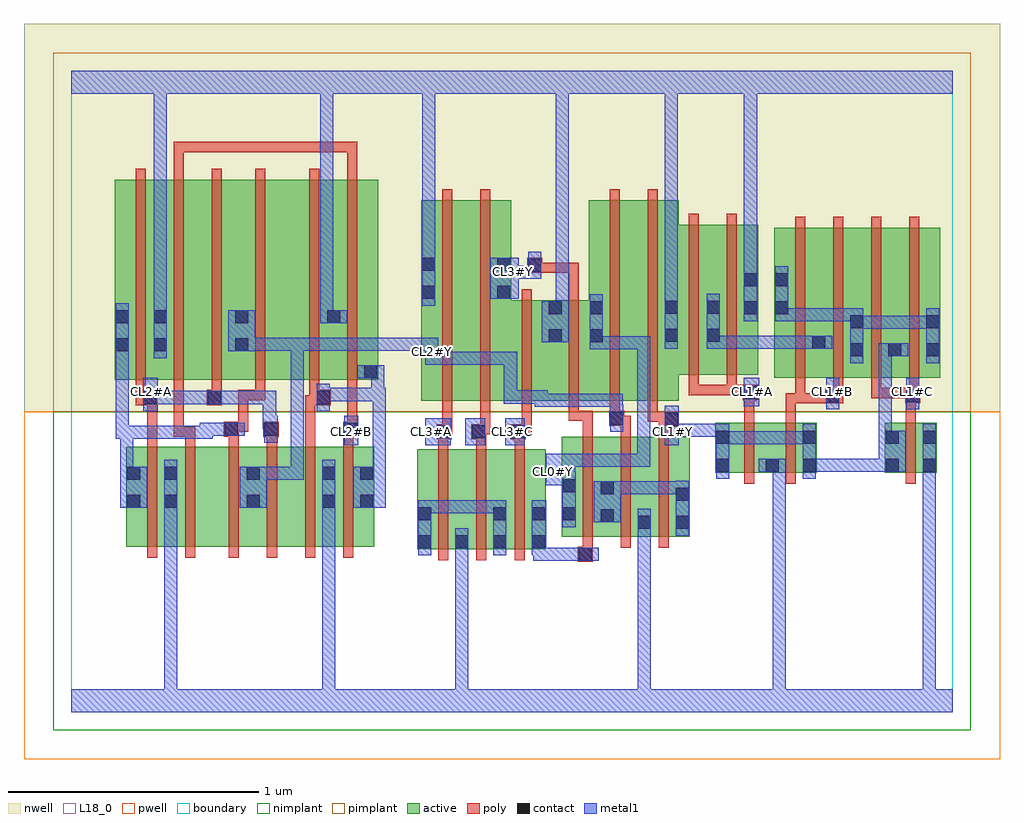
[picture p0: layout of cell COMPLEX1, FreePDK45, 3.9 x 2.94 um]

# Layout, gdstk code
import gdstk
lib = gdstk.Library(unit=1e-6, precision=1e-09)
def R(c, l, rs):  # rectangles x0, y0, x1, y1
    for r in rs: c.add(gdstk.rectangle(r[:2], r[2:], *l))
def A(c, l, x, y, w, h, nx, ny, dx, dy):  # array of equal rectangles
    R(c, l, [(x+i*dx, y+j*dy, x+i*dx+w, y+j*dy+h) for i in range(nx) for j in range(ny)])
active = (1, 0)
pwell = (2, 0)
nwell = (3, 0)
nimplant = (4, 0)
pimplant = (5, 0)
poly = (9, 0)
contact = (10, 0)
metal1 = (11, 0)
L18_0 = (18, 0)
boundary = (235, 0)

complex1 = lib.new_cell('COMPLEX1')
A(complex1, active, 2.954, 1.334, 0.212, 0.6, 3, 1, 0.152, 0)
R(complex1, active, [(1.382,0.65,1.442,1.05), (1.382,0.65,1.59,1.05), (1.53,0.65,1.742,1.05), (1.53,0.65,1.59,0.88), (1.682,0.65,1.742,1.05), (1.682,0.65,1.894,1.05), (1.834,0.65,1.894,1.05), (0.22,0.66,0.28,1.06), (0.22,0.66,0.428,1.06), (0.368,0.66,0.552,1.06), (0.368,0.66,0.428,1.05), (0.552,0.66,0.758,1.06), (0.698,0.66,0.758,0.984), (0.698,0.66,0.878,1.06), (0.878,0.66,1.058,1.06), (0.998,0.66,1.21,1.06), (0.998,0.66,1.058,0.984), (1.15,0.66,1.21,1.06), (1.958,0.7,2.018,1.1), (1.958,0.7,2.17,1.1), (2.11,0.7,2.17,1.1), (2.11,0.7,2.318,1.1), (2.258,0.7,2.318,1.1), (2.258,0.7,2.47,1.1), (2.41,0.7,2.47,1.1), (2.572,0.956,2.632,1.156), (2.572,0.956,2.828,1.156), (2.768,0.956,2.828,1.156), (2.768,0.956,2.976,1.156), (2.916,0.956,2.976,1.156), (3.248,0.956,3.308,1.156), (3.248,0.956,3.456,1.156), (3.396,0.956,3.456,1.156), (1.398,1.244,1.578,2.044), (1.578,1.244,1.758,2.044), (1.698,1.244,1.962,1.644), (1.902,1.244,2.126,1.644), (2.066,1.244,2.246,2.044), (2.246,1.244,2.426,2.044), (2.066,1.25,2.126,2.038), (0.174,1.326,0.386,2.126), (0.174,1.326,0.234,2.098), (0.326,1.326,0.506,2.126), (0.326,1.326,0.386,2.044), (0.506,1.326,0.712,2.126), (0.652,1.326,0.832,2.126), (0.652,1.326,0.712,2.056), (0.832,1.326,1.078,2.126), (1.018,1.326,1.078,2.044), (1.018,1.326,1.226,2.126), (1.166,1.326,1.226,2.044), (2.806,1.334,2.866,1.934), (2.806,1.334,3.014,1.934), (3.106,1.334,3.166,1.934), (3.41,1.334,3.47,1.934), (2.366,1.346,2.594,1.946), (2.534,1.346,2.742,1.946), (2.682,1.346,2.742,1.946), (3.258,1.416,3.318,1.844), (2.954,1.446,3.014,1.844), (2.366,1.468,2.426,1.946), (1.902,1.472,1.962,1.644), (2.534,1.474,2.594,1.844), (1.698,1.492,1.758,2.038), (1.398,1.646,1.458,2.044)])
R(complex1, pwell, [(-0.188,-0.188,3.708,1.2)])
R(complex1, nwell, [(-0.188,1.2,3.708,2.748)])
R(complex1, nimplant, [(-0.072,-0.072,3.592,1.2)])
R(complex1, pimplant, [(-0.072,1.2,3.592,2.632)])
A(complex1, poly, 1.466, 0.606, 0.04, 0.488, 3, 1, 0.152, 0)
A(complex1, poly, 0.63, 0.616, 0.04, 0.488, 4, 1, 0.152, 0)
A(complex1, poly, 2.042, 0.656, 0.04, 0.488, 3, 1, 0.152, 0)
A(complex1, poly, 1.466, 1.054, 0.04, 0.076, 3, 1, 0.152, 0)
A(complex1, poly, 3.042, 1.254, 0.04, 0.076, 3, 1, 0.152, 0)
A(complex1, poly, 0.258, 1.282, 0.04, 0.888, 3, 1, 0.152, 0)
A(complex1, poly, 2.89, 1.29, 0.04, 0.688, 4, 1, 0.152, 0)
R(complex1, poly, [(2.022,0.6,2.082,0.66), (0.304,0.616,0.344,1.104), (0.456,0.616,0.496,1.104), (2.042,0.62,2.082,0.696), (2.688,0.912,2.728,1.2), (2.852,0.912,2.892,1.2), (3.332,0.912,3.372,1.2), (0.304,1.064,0.344,1.266), (0.456,1.064,0.496,1.14), (0.63,1.064,0.67,1.14), (0.782,1.064,0.822,1.14), (0.934,1.064,0.974,1.266), (1.086,1.064,1.126,1.14), (1.46,1.09,1.52,1.15), (1.598,1.09,1.658,1.15), (1.754,1.09,1.814,1.15), (0.41,1.1,0.45,1.14), (0.41,1.1,0.45,1.14), (0.41,1.1,0.45,1.322), (0.41,1.1,0.496,1.14), (0.61,1.1,0.67,1.16), (0.768,1.1,0.828,1.16), (1.086,1.1,1.146,1.16), (2.042,1.104,2.082,1.204), (2.194,1.104,2.234,1.184), (2.346,1.104,2.386,1.18), (1.48,1.11,1.52,1.15), (1.48,1.11,1.522,1.15), (1.482,1.11,1.522,1.24), (1.618,1.11,1.658,1.15), (1.618,1.11,1.674,1.15), (1.634,1.11,1.674,1.24), (1.774,1.11,1.814,1.15), (1.774,1.11,1.838,1.15), (1.798,1.11,1.838,1.24), (0.63,1.12,0.708,1.16), (0.668,1.12,0.708,1.16), (0.668,1.12,0.708,1.286), (1.102,1.12,1.142,1.16), (1.102,1.12,1.142,1.16), (1.102,1.12,1.142,1.322), (2.346,1.14,2.426,1.2), (2.148,1.144,2.208,1.204), (2.168,1.144,2.208,1.184), (2.168,1.144,2.234,1.184), (2.302,1.16,2.342,1.24), (2.302,1.16,2.386,1.2), (2.346,1.16,2.386,1.2), (2.688,1.16,2.728,1.286), (2.852,1.16,2.892,1.274), (3.332,1.16,3.372,1.274), (1.986,1.164,2.026,1.24), (1.986,1.164,2.026,1.204), (1.986,1.164,2.026,1.204), (1.986,1.164,2.082,1.204), (2.15,1.164,2.19,1.24), (1.482,1.2,1.522,2.088), (1.634,1.2,1.674,2.088), (1.798,1.2,1.838,1.688), (1.986,1.2,2.026,1.688), (2.15,1.2,2.19,2.088), (2.302,1.2,2.342,2.088), (0.258,1.226,0.344,1.286), (0.304,1.226,0.344,1.266), (0.304,1.226,0.344,1.266), (0.542,1.226,0.602,1.286), (0.934,1.226,0.99,1.266), (0.95,1.226,0.99,1.266), (0.95,1.226,1.036,1.286), (2.852,1.234,2.93,1.274), (2.89,1.234,2.93,1.274), (2.89,1.234,2.93,1.274), (2.89,1.234,3.05,1.274), (2.89,1.234,2.93,1.33), (3.01,1.234,3.05,1.274), (3.01,1.234,3.05,1.274), (3.01,1.234,3.082,1.294), (3.33,1.234,3.39,1.294), (3.332,1.234,3.372,1.274), (3.332,1.234,3.372,1.274), (0.258,1.246,0.298,1.322), (0.562,1.246,0.602,1.322), (0.668,1.246,0.708,1.286), (0.668,1.246,0.776,1.286), (0.736,1.246,0.776,1.322), (0.736,1.246,0.776,1.286), (0.95,1.246,0.99,1.322), (2.682,1.246,2.742,1.306), (3.194,1.254,3.234,1.294), (3.194,1.254,3.234,1.294), (3.194,1.254,3.234,1.294), (3.194,1.254,3.37,1.294), (2.466,1.266,2.506,1.342), (2.466,1.266,2.506,1.306), (2.466,1.266,2.506,1.306), (2.466,1.266,2.506,1.306), (2.466,1.266,2.658,1.306), (2.618,1.266,2.658,1.342), (2.618,1.266,2.722,1.306), (2.682,1.266,2.722,1.306), (0.736,1.282,0.776,2.17), (0.95,1.282,0.99,2.17), (1.102,1.282,1.142,2.17), (2.466,1.302,2.506,1.99), (2.618,1.302,2.658,1.99), (1.986,1.648,2.026,1.794), (1.82,1.754,1.88,1.814), (1.84,1.754,1.88,1.794), (1.84,1.754,1.88,1.794), (1.84,1.754,2.026,1.794), (1.986,1.754,2.026,1.794), (1.986,1.754,2.026,1.794), (1.986,1.754,2.026,1.794), (0.41,2.13,0.45,2.276), (1.102,2.13,1.142,2.276), (0.41,2.236,0.45,2.276), (0.41,2.236,0.556,2.276), (0.516,2.236,0.556,2.276), (0.516,2.236,0.556,2.276), (0.516,2.236,0.556,2.276), (0.516,2.236,0.662,2.276), (0.622,2.236,0.662,2.276), (0.622,2.236,0.812,2.276), (0.772,2.236,0.812,2.276), (0.772,2.236,0.918,2.276), (0.878,2.236,0.918,2.276), (0.878,2.236,0.918,2.276), (0.878,2.236,0.918,2.276), (0.878,2.236,1.142,2.276), (1.102,2.236,1.142,2.276), (1.102,2.236,1.142,2.276), (1.102,2.236,1.142,2.276)])
A(complex1, contact, 1.534, 0.654, 0.052, 0.052, 3, 1, 0.152, 0)
A(complex1, contact, 3.11, 1.42, 0.052, 0.052, 3, 1, 0.152, 0)
R(complex1, contact, [(2.026,0.604,2.078,0.656), (1.386,0.654,1.438,0.706), (2.262,0.732,2.314,0.784), (2.414,0.732,2.466,0.784), (2.114,0.758,2.166,0.81), (1.386,0.766,1.438,0.818), (1.686,0.766,1.738,0.818), (1.838,0.766,1.89,0.818), (1.962,0.766,2.014,0.818), (0.224,0.816,0.276,0.868), (0.372,0.816,0.424,0.868), (0.702,0.816,0.754,0.868), (1.002,0.816,1.054,0.868), (1.154,0.816,1.206,0.868), (2.414,0.844,2.466,0.896), (2.114,0.87,2.166,0.922), (1.962,0.878,2.014,0.93), (0.224,0.928,0.276,0.98), (0.372,0.928,0.424,0.98), (0.702,0.928,0.754,0.98), (1.002,0.928,1.054,0.98), (1.154,0.928,1.206,0.98), (2.576,0.96,2.628,1.012), (2.772,0.96,2.824,1.012), (2.92,0.96,2.972,1.012), (3.252,0.96,3.304,1.012), (3.4,0.96,3.452,1.012), (2.576,1.072,2.628,1.124), (2.92,1.072,2.972,1.124), (3.252,1.072,3.304,1.124), (3.4,1.072,3.452,1.124), (1.464,1.094,1.516,1.146), (1.602,1.094,1.654,1.146), (1.758,1.094,1.81,1.146), (0.614,1.104,0.666,1.156), (0.772,1.104,0.824,1.156), (1.09,1.104,1.142,1.156), (2.37,1.144,2.422,1.196), (2.152,1.148,2.204,1.2), (0.288,1.23,0.34,1.282), (0.546,1.23,0.598,1.282), (0.98,1.23,1.032,1.282), (3.014,1.238,3.066,1.29), (3.334,1.238,3.386,1.29), (2.686,1.25,2.738,1.302), (1.17,1.332,1.222,1.384), (0.178,1.44,0.23,1.492), (0.33,1.44,0.382,1.492), (0.656,1.44,0.708,1.492), (2.958,1.45,3.01,1.502), (1.906,1.476,1.958,1.528), (2.07,1.476,2.122,1.528), (2.37,1.478,2.422,1.53), (2.538,1.478,2.59,1.53), (3.11,1.532,3.162,1.584), (3.414,1.532,3.466,1.584), (0.178,1.552,0.23,1.604), (0.33,1.552,0.382,1.604), (0.656,1.552,0.708,1.604), (1.022,1.552,1.074,1.604), (1.906,1.588,1.958,1.64), (2.07,1.588,2.122,1.64), (2.686,1.588,2.738,1.64), (2.81,1.588,2.862,1.64), (2.37,1.59,2.422,1.642), (2.538,1.59,2.59,1.642), (1.402,1.65,1.454,1.702), (1.702,1.65,1.754,1.702), (2.686,1.7,2.738,1.752), (2.81,1.7,2.862,1.752), (1.824,1.758,1.876,1.81), (1.402,1.762,1.454,1.814), (1.702,1.762,1.754,1.814)])
R(complex1, metal1, [(0,0,3.52,0.092), (0.372,0.04,0.424,0.092), (0.372,0.04,0.424,0.092), (0.372,0.04,0.424,0.092), (0.372,0.04,0.424,0.092), (0.372,0.04,0.424,0.092), (0.372,0.04,0.424,0.092), (0.372,0.04,0.424,0.84), (1.002,0.04,1.054,0.092), (1.002,0.04,1.054,0.092), (1.002,0.04,1.054,0.092), (1.002,0.04,1.054,0.092), (1.002,0.04,1.054,0.092), (1.002,0.04,1.054,0.092), (1.002,0.04,1.054,0.84), (1.534,0.04,1.586,0.092), (1.534,0.04,1.586,0.092), (1.534,0.04,1.586,0.092), (1.534,0.04,1.586,0.092), (1.534,0.04,1.586,0.092), (1.534,0.04,1.586,0.092), (1.534,0.04,1.586,0.092), (1.534,0.04,1.586,0.092), (1.534,0.04,1.586,0.092), (1.534,0.04,1.586,0.092), (1.534,0.04,1.586,0.092), (1.534,0.04,1.586,0.092), (1.534,0.04,1.586,0.678), (2.262,0.04,2.314,0.092), (2.262,0.04,2.314,0.092), (2.262,0.04,2.314,0.092), (2.262,0.04,2.314,0.092), (2.262,0.04,2.314,0.092), (2.262,0.04,2.314,0.092), (2.262,0.04,2.314,0.092), (2.262,0.04,2.314,0.092), (2.262,0.04,2.314,0.092), (2.262,0.04,2.314,0.092), (2.262,0.04,2.314,0.092), (2.262,0.04,2.314,0.092), (2.262,0.04,2.314,0.756), (2.8,0.04,2.852,0.092), (2.8,0.04,2.852,0.092), (2.8,0.04,2.852,0.092), (2.8,0.04,2.852,0.092), (2.8,0.04,2.852,0.092), (2.8,0.04,2.852,0.092), (2.8,0.04,2.852,0.092), (2.8,0.04,2.852,0.092), (2.8,0.04,2.852,0.092), (2.8,0.04,2.852,0.092), (2.8,0.04,2.852,0.092), (2.8,0.04,2.852,0.092), (2.8,0.04,2.852,0.092), (2.8,0.04,2.852,0.092), (2.8,0.04,2.852,1.012), (3.4,0.04,3.452,0.984), (3.4,0.04,3.452,0.092), (3.4,0.04,3.452,0.092), (3.4,0.04,3.452,0.092), (3.4,0.04,3.452,0.092), (3.4,0.04,3.452,0.092), (3.4,0.04,3.452,0.092), (3.4,0.04,3.452,0.092), (3.4,0.04,3.452,0.092), (3.4,0.04,3.452,0.092), (3.4,0.04,3.452,0.092), (3.4,0.04,3.452,0.092), (3.4,0.04,3.452,0.092), (3.4,0.04,3.452,0.092), (3.4,0.04,3.452,0.092), (3.4,0.04,3.452,0.092), (3.4,0.04,3.452,0.092), (1.844,0.604,1.896,0.656), (1.844,0.604,1.896,0.656), (1.844,0.604,1.896,0.656), (1.844,0.604,2.05,0.656), (1.844,0.604,1.896,0.678), (1.998,0.604,2.106,0.656), (1.386,0.626,1.438,0.846), (1.534,0.626,1.586,0.734), (1.686,0.626,1.738,0.846), (1.838,0.626,1.896,0.846), (2.262,0.704,2.314,0.812), (2.414,0.704,2.466,0.924), (1.96,0.738,2.014,0.958), (2.086,0.758,2.194,0.922), (0.372,0.788,0.424,1.008), (0.372,0.788,0.424,0.84), (0.372,0.788,0.424,0.84), (0.372,0.788,0.424,0.84), (0.372,0.788,0.424,0.84), (0.372,0.788,0.424,0.84), (0.372,0.788,0.424,0.84), (1.002,0.788,1.054,1.008), (1.002,0.788,1.054,0.84), (1.002,0.788,1.054,0.84), (1.002,0.788,1.054,0.84), (1.002,0.788,1.054,0.84), (1.002,0.788,1.054,0.84), (1.002,0.788,1.054,0.84), (1.386,0.794,1.438,0.846), (1.386,0.794,1.438,0.846), (1.386,0.794,1.576,0.846), (1.524,0.794,1.576,0.846), (1.524,0.794,1.576,0.846), (1.524,0.794,1.576,0.846), (1.524,0.794,1.738,0.846), (0.196,0.816,0.304,0.98), (0.674,0.816,0.782,0.98), (1.126,0.816,1.256,0.98), (2.142,0.87,2.312,0.922), (2.26,0.87,2.312,0.922), (2.26,0.87,2.312,0.922), (2.26,0.87,2.312,0.922), (2.26,0.87,2.466,0.922), (2.414,0.87,2.466,0.922), (2.414,0.87,2.466,0.922), (1.894,0.906,2.012,1.032), (1.96,0.906,2.012,0.958), (0.196,0.928,0.248,1.144), (0.73,0.928,0.824,0.98), (0.772,0.928,0.824,0.98), (0.772,0.928,0.928,0.98), (0.876,0.928,0.928,0.98), (0.876,0.928,0.928,0.98), (0.876,0.928,0.928,0.98), (0.876,0.928,0.928,0.98), (0.876,0.928,0.928,0.98), (0.876,0.928,0.928,1.494), (1.204,0.928,1.256,1.294), (2.576,0.932,2.628,1.152), (2.92,0.932,2.972,1.152), (3.4,0.932,3.452,1.152), (2.744,0.96,2.852,1.012), (2.8,0.96,2.852,1.012), (2.8,0.96,2.852,1.012), (2.92,0.96,3.162,1.012), (3.11,0.96,3.162,1.012), (3.11,0.96,3.162,1.012), (3.11,0.96,3.162,1.012), (3.11,0.96,3.276,1.012), (3.224,0.96,3.276,1.012), (3.224,0.96,3.276,1.012), (3.224,0.96,3.332,1.124), (1.96,0.98,2.012,1.032), (1.96,0.98,2.012,1.032), (1.96,0.98,2.13,1.032), (2.078,0.98,2.13,1.032), (2.078,0.98,2.312,1.032), (2.26,0.98,2.312,1.032), (2.26,0.98,2.312,1.032), (2.26,0.98,2.312,1.032), (2.26,0.98,2.312,1.5), (1.09,1.066,1.146,1.184), (1.414,1.066,1.516,1.174), (1.574,1.066,1.654,1.174), (1.734,1.066,1.81,1.174), (2.37,1.066,2.426,1.224), (2.576,1.07,2.738,1.122), (2.686,1.07,2.738,1.122), (2.686,1.07,2.738,1.122), (2.686,1.07,2.738,1.122), (2.686,1.07,2.848,1.122), (2.796,1.07,2.848,1.122), (2.796,1.07,2.956,1.122), (2.904,1.07,2.956,1.122), (2.904,1.07,2.972,1.122), (3.224,1.072,3.276,1.124), (3.224,1.072,3.276,1.124), (3.224,1.072,3.276,1.124), (3.224,1.072,3.276,1.124), (3.224,1.072,3.276,1.472), (0.772,1.076,0.824,1.184), (0.178,1.092,0.23,1.144), (0.178,1.092,0.23,1.144), (0.178,1.092,0.23,1.464), (0.178,1.092,0.248,1.144), (0.196,1.092,0.248,1.144), (0.196,1.092,0.248,1.144), (0.196,1.092,0.456,1.144), (0.404,1.092,0.456,1.144), (0.404,1.092,0.456,1.144), (0.404,1.092,0.456,1.144), (0.404,1.092,0.566,1.144), (0.514,1.092,0.566,1.156), (2.374,1.1,2.426,1.152), (2.374,1.1,2.426,1.152), (2.374,1.1,2.628,1.152), (2.576,1.1,2.628,1.152), (2.576,1.1,2.628,1.152), (2.576,1.1,2.628,1.152), (2.576,1.1,2.628,1.152), (0.514,1.104,0.638,1.156), (0.586,1.104,0.694,1.156), (2.152,1.12,2.204,1.228), (0.766,1.132,0.818,1.184), (0.766,1.132,0.824,1.184), (0.766,1.132,0.818,1.282), (2.15,1.176,2.204,1.228), (2.15,1.176,2.202,1.272), (0.288,1.202,0.346,1.334), (0.98,1.202,1.032,1.31), (3.014,1.21,3.066,1.334), (3.334,1.21,3.386,1.334), (1.85,1.22,1.902,1.272), (1.85,1.22,1.902,1.272), (1.85,1.22,2.012,1.272), (1.85,1.22,1.902,1.284), (1.96,1.22,2.012,1.272), (1.96,1.22,2.202,1.272), (2.686,1.222,2.746,1.334), (0.294,1.23,0.358,1.282), (0.306,1.23,0.358,1.282), (0.306,1.23,0.456,1.282), (0.404,1.23,0.456,1.282), (0.404,1.23,0.57,1.282), (0.518,1.23,0.57,1.282), (0.518,1.23,0.57,1.282), (0.518,1.23,0.626,1.282), (0.574,1.23,0.818,1.282), (0.766,1.23,0.818,1.282), (1.728,1.232,1.902,1.284), (1.728,1.232,1.78,1.438), (0.98,1.242,1.038,1.294), (0.986,1.242,1.038,1.294), (0.986,1.242,1.25,1.294), (1.198,1.242,1.25,1.294), (1.198,1.242,1.25,1.294), (1.198,1.242,1.25,1.384), (1.198,1.242,1.256,1.294), (1.204,1.242,1.256,1.294), (1.204,1.242,1.256,1.294), (1.142,1.332,1.25,1.384), (1.414,1.386,1.466,1.438), (1.414,1.386,1.466,1.438), (1.414,1.386,1.466,1.494), (1.414,1.386,1.616,1.438), (1.564,1.386,1.616,1.438), (1.564,1.386,1.616,1.438), (1.564,1.386,1.616,1.438), (1.564,1.386,1.78,1.438), (1.728,1.386,1.78,1.438), (1.728,1.386,1.78,1.438), (3.11,1.392,3.162,1.612), (3.414,1.392,3.466,1.612), (0.178,1.412,0.23,1.632), (0.33,1.412,0.382,1.632), (3.224,1.42,3.342,1.472), (0.628,1.44,0.736,1.604), (0.684,1.442,0.922,1.494), (0.87,1.442,0.922,1.494), (0.87,1.442,0.928,1.494), (0.876,1.442,0.928,1.494), (0.876,1.442,1.032,1.494), (0.98,1.442,1.032,1.494), (0.98,1.442,1.038,1.494), (0.986,1.442,1.038,1.494), (0.986,1.442,1.038,1.494), (0.986,1.442,1.038,1.494), (0.986,1.442,1.242,1.494), (1.19,1.442,1.242,1.494), (1.19,1.442,1.242,1.494), (1.19,1.442,1.242,1.494), (1.19,1.442,1.466,1.494), (1.414,1.442,1.466,1.494), (1.414,1.442,1.466,1.494), (1.414,1.442,1.466,1.494), (1.414,1.442,1.466,1.494), (2.07,1.448,2.122,1.668), (2.07,1.448,2.312,1.5), (2.26,1.448,2.312,1.5), (2.26,1.448,2.312,1.5), (2.26,1.448,2.312,1.5), (2.26,1.448,2.312,1.5), (2.26,1.448,2.312,1.5), (2.37,1.45,2.422,1.67), (2.538,1.45,2.59,1.67), (2.538,1.45,2.738,1.502), (2.686,1.45,2.738,1.502), (2.686,1.45,2.738,1.502), (2.686,1.45,2.738,1.502), (2.686,1.45,2.862,1.502), (2.81,1.45,2.862,1.502), (2.81,1.45,2.862,1.502), (2.81,1.45,2.862,1.502), (2.81,1.45,2.982,1.502), (2.93,1.45,3.038,1.502), (1.878,1.476,1.986,1.64), (3.11,1.53,3.272,1.582), (3.22,1.53,3.272,1.582), (3.22,1.53,3.272,1.582), (3.22,1.53,3.272,1.582), (3.22,1.53,3.438,1.582), (3.386,1.53,3.466,1.582), (3.386,1.53,3.438,1.582), (0.994,1.552,1.046,1.604), (0.994,1.552,1.046,1.604), (0.994,1.552,1.046,1.604), (0.994,1.552,1.046,1.604), (0.994,1.552,1.046,1.604), (0.994,1.552,1.046,1.604), (0.994,1.552,1.102,1.604), (0.994,1.552,1.046,2.52), (2.686,1.56,2.738,1.78), (2.81,1.56,2.862,1.78), (2.81,1.56,2.862,1.612), (2.81,1.56,2.862,1.612), (2.81,1.56,3.052,1.612), (3,1.56,3.052,1.612), (3,1.56,3.162,1.612), (3.11,1.56,3.162,1.612), (3.11,1.56,3.162,1.612), (0.33,1.58,0.382,1.632), (0.33,1.58,0.382,1.632), (0.33,1.58,0.382,1.632), (0.33,1.58,0.382,1.632), (0.33,1.58,0.382,1.632), (0.33,1.58,0.382,1.632), (0.33,1.58,0.382,2.52), (1.934,1.588,1.986,1.64), (1.934,1.588,1.986,1.64), (1.934,1.588,1.986,1.64), (1.934,1.588,1.986,1.64), (1.934,1.588,1.986,1.64), (1.934,1.588,1.986,1.64), (1.934,1.588,1.986,1.64), (1.934,1.588,1.986,1.64), (1.934,1.588,1.986,1.89), (2.37,1.618,2.422,1.67), (2.37,1.618,2.422,1.67), (2.37,1.618,2.422,1.67), (2.37,1.618,2.422,1.67), (2.37,1.618,2.422,1.67), (2.37,1.618,2.422,1.67), (2.37,1.618,2.422,2.52), (1.402,1.622,1.454,1.842), (1.674,1.65,1.786,1.814), (2.686,1.728,2.738,1.78), (2.686,1.728,2.738,1.78), (2.686,1.728,2.738,1.78), (2.686,1.728,2.738,1.78), (2.686,1.728,2.738,1.78), (2.686,1.728,2.738,1.78), (2.686,1.728,2.738,1.78), (2.686,1.728,2.738,1.78), (2.686,1.728,2.738,1.78), (2.686,1.728,2.738,1.78), (2.686,1.728,2.738,2.52), (1.734,1.73,1.876,1.782), (1.824,1.73,1.876,1.838), (1.402,1.79,1.454,1.842), (1.402,1.79,1.454,1.842), (1.402,1.79,1.454,1.842), (1.402,1.79,1.454,1.842), (1.402,1.79,1.454,1.842), (1.402,1.79,1.454,1.842), (1.402,1.79,1.454,2.52), (1.934,1.838,1.986,1.89), (1.934,1.838,1.986,1.89), (1.934,1.838,1.986,1.89), (1.934,1.838,1.986,1.89), (1.934,1.838,1.986,1.89), (1.934,1.838,1.986,1.89), (1.934,1.838,1.986,1.89), (1.934,1.838,1.986,2.52), (0,2.468,3.52,2.56), (0.33,2.468,0.382,2.52), (0.33,2.468,0.382,2.52), (0.994,2.468,1.046,2.52), (0.994,2.468,1.046,2.52), (1.402,2.468,1.454,2.52), (1.402,2.468,1.454,2.52), (2.37,2.468,2.422,2.52), (2.37,2.468,2.422,2.52), (2.686,2.468,2.738,2.52), (2.686,2.468,2.738,2.52)])
A(complex1, L18_0, 1.414, 1.094, 0.052, 0.052, 3, 1, 0.16, 0)
A(complex1, L18_0, 2.694, 1.254, 0.052, 0.052, 3, 1, 0.32, 0)
A(complex1, L18_0, 1.414, 1.386, 0.052, 0.052, 1, 3, 0, 0.028)
R(complex1, L18_0, [(0,0,3.52,0.092), (0.372,0.04,0.424,0.092), (0.372,0.04,0.424,0.092), (0.372,0.04,0.424,0.092), (0.372,0.04,0.424,0.092), (0.372,0.04,0.424,0.092), (0.372,0.04,0.424,0.092), (0.372,0.04,0.424,0.84), (1.002,0.04,1.054,0.092), (1.002,0.04,1.054,0.092), (1.002,0.04,1.054,0.092), (1.002,0.04,1.054,0.092), (1.002,0.04,1.054,0.092), (1.002,0.04,1.054,0.092), (1.002,0.04,1.054,0.84), (1.534,0.04,1.586,0.092), (1.534,0.04,1.586,0.092), (1.534,0.04,1.586,0.092), (1.534,0.04,1.586,0.092), (1.534,0.04,1.586,0.092), (1.534,0.04,1.586,0.092), (1.534,0.04,1.586,0.092), (1.534,0.04,1.586,0.092), (1.534,0.04,1.586,0.092), (1.534,0.04,1.586,0.092), (1.534,0.04,1.586,0.092), (1.534,0.04,1.586,0.092), (1.534,0.04,1.586,0.678), (2.262,0.04,2.314,0.092), (2.262,0.04,2.314,0.092), (2.262,0.04,2.314,0.092), (2.262,0.04,2.314,0.092), (2.262,0.04,2.314,0.092), (2.262,0.04,2.314,0.092), (2.262,0.04,2.314,0.092), (2.262,0.04,2.314,0.092), (2.262,0.04,2.314,0.092), (2.262,0.04,2.314,0.092), (2.262,0.04,2.314,0.092), (2.262,0.04,2.314,0.092), (2.262,0.04,2.314,0.756), (2.8,0.04,2.852,0.092), (2.8,0.04,2.852,0.092), (2.8,0.04,2.852,0.092), (2.8,0.04,2.852,0.092), (2.8,0.04,2.852,0.092), (2.8,0.04,2.852,0.092), (2.8,0.04,2.852,0.092), (2.8,0.04,2.852,0.092), (2.8,0.04,2.852,0.092), (2.8,0.04,2.852,0.092), (2.8,0.04,2.852,0.092), (2.8,0.04,2.852,0.092), (2.8,0.04,2.852,0.092), (2.8,0.04,2.852,0.092), (2.8,0.04,2.852,1.012), (3.4,0.04,3.452,0.092), (3.4,0.04,3.452,0.092), (3.4,0.04,3.452,0.092), (3.4,0.04,3.452,0.092), (3.4,0.04,3.452,0.092), (3.4,0.04,3.452,0.092), (3.4,0.04,3.452,0.092), (3.4,0.04,3.452,0.092), (3.4,0.04,3.452,0.092), (3.4,0.04,3.452,0.092), (3.4,0.04,3.452,0.092), (3.4,0.04,3.452,0.092), (3.4,0.04,3.452,0.092), (3.4,0.04,3.452,0.092), (3.4,0.04,3.452,0.092), (3.4,0.04,3.452,0.092), (3.4,0.04,3.452,0.984), (1.844,0.604,1.896,0.656), (1.844,0.604,1.896,0.656), (1.844,0.604,1.896,0.656), (1.844,0.604,1.896,0.678), (1.844,0.604,2.05,0.656), (1.998,0.604,2.106,0.656), (1.534,0.626,1.586,0.734), (1.838,0.626,1.896,0.846), (2.262,0.704,2.314,0.812), (1.96,0.738,2.014,0.958), (0.372,0.788,0.424,0.84), (0.372,0.788,0.424,0.84), (0.372,0.788,0.424,0.84), (0.372,0.788,0.424,0.84), (0.372,0.788,0.424,0.84), (0.372,0.788,0.424,0.84), (0.372,0.788,0.424,1.008), (1.002,0.788,1.054,0.84), (1.002,0.788,1.054,0.84), (1.002,0.788,1.054,0.84), (1.002,0.788,1.054,0.84), (1.002,0.788,1.054,0.84), (1.002,0.788,1.054,0.84), (1.002,0.788,1.054,1.008), (0.674,0.816,0.782,0.98), (1.894,0.906,2.012,1.032), (1.96,0.906,2.012,0.958), (0.73,0.928,0.824,0.98), (0.772,0.928,0.824,0.98), (0.772,0.928,0.928,0.98), (0.876,0.928,0.928,0.98), (0.876,0.928,0.928,0.98), (0.876,0.928,0.928,0.98), (0.876,0.928,0.928,0.98), (0.876,0.928,0.928,0.98), (0.876,0.928,0.928,1.494), (2.576,0.932,2.628,1.152), (2.92,0.932,2.972,1.152), (3.4,0.932,3.452,1.152), (1.894,0.934,1.946,0.986), (2.744,0.96,2.852,1.012), (2.8,0.96,2.852,1.012), (2.8,0.96,2.852,1.012), (2.92,0.96,3.162,1.012), (3.11,0.96,3.162,1.012), (3.11,0.96,3.162,1.012), (3.11,0.96,3.162,1.012), (3.11,0.96,3.276,1.012), (3.224,0.96,3.276,1.012), (3.224,0.96,3.276,1.012), (3.224,0.96,3.332,1.124), (1.96,0.98,2.012,1.032), (1.96,0.98,2.012,1.032), (1.96,0.98,2.13,1.032), (2.078,0.98,2.13,1.032), (2.078,0.98,2.312,1.032), (2.26,0.98,2.312,1.032), (2.26,0.98,2.312,1.032), (2.26,0.98,2.312,1.032), (2.26,0.98,2.312,1.5), (1.09,1.066,1.146,1.184), (1.414,1.066,1.516,1.174), (1.574,1.066,1.654,1.174), (1.734,1.066,1.81,1.174), (2.37,1.066,2.426,1.224), (2.576,1.07,2.738,1.122), (2.686,1.07,2.738,1.122), (2.686,1.07,2.738,1.122), (2.686,1.07,2.738,1.122), (2.686,1.07,2.848,1.122), (2.796,1.07,2.848,1.122), (2.796,1.07,2.956,1.122), (2.904,1.07,2.956,1.122), (2.904,1.07,2.972,1.122), (3.224,1.072,3.276,1.124), (3.224,1.072,3.276,1.124), (3.224,1.072,3.276,1.124), (3.224,1.072,3.276,1.124), (3.224,1.072,3.276,1.472), (0.772,1.076,0.824,1.184), (1.094,1.094,1.146,1.146), (2.374,1.094,2.426,1.146), (2.374,1.1,2.426,1.152), (2.374,1.1,2.426,1.152), (2.374,1.1,2.628,1.152), (2.576,1.1,2.628,1.152), (2.576,1.1,2.628,1.152), (2.576,1.1,2.628,1.152), (2.576,1.1,2.628,1.152), (2.152,1.12,2.204,1.228), (0.766,1.132,0.818,1.184), (0.766,1.132,0.818,1.282), (0.766,1.132,0.824,1.184), (2.15,1.176,2.202,1.272), (2.15,1.176,2.204,1.228), (0.288,1.202,0.346,1.334), (3.014,1.21,3.066,1.334), (3.334,1.21,3.386,1.334), (1.85,1.22,1.902,1.272), (1.85,1.22,1.902,1.272), (1.85,1.22,1.902,1.284), (1.85,1.22,2.012,1.272), (1.96,1.22,2.012,1.272), (1.96,1.22,2.202,1.272), (2.686,1.222,2.746,1.334), (0.294,1.23,0.358,1.282), (0.306,1.23,0.358,1.282), (0.306,1.23,0.456,1.282), (0.404,1.23,0.456,1.282), (0.404,1.23,0.57,1.282), (0.518,1.23,0.57,1.282), (0.518,1.23,0.57,1.282), (0.518,1.23,0.626,1.282), (0.574,1.23,0.818,1.282), (0.766,1.23,0.818,1.282), (1.728,1.232,1.78,1.438), (1.728,1.232,1.902,1.284), (0.294,1.254,0.346,1.306), (1.414,1.386,1.466,1.438), (1.414,1.386,1.466,1.494), (1.414,1.386,1.616,1.438), (1.564,1.386,1.616,1.438), (1.564,1.386,1.616,1.438), (1.564,1.386,1.616,1.438), (1.564,1.386,1.78,1.438), (1.728,1.386,1.78,1.438), (1.728,1.386,1.78,1.438), (0.33,1.412,0.382,1.632), (3.224,1.42,3.342,1.472), (0.628,1.44,0.736,1.604), (0.684,1.442,0.922,1.494), (0.87,1.442,0.922,1.494), (0.87,1.442,0.928,1.494), (0.876,1.442,0.928,1.494), (0.876,1.442,1.032,1.494), (0.98,1.442,1.032,1.494), (0.98,1.442,1.038,1.494), (0.986,1.442,1.038,1.494), (0.986,1.442,1.038,1.494), (0.986,1.442,1.038,1.494), (0.986,1.442,1.242,1.494), (1.19,1.442,1.242,1.494), (1.19,1.442,1.242,1.494), (1.19,1.442,1.242,1.494), (1.19,1.442,1.466,1.494), (1.414,1.442,1.466,1.494), (1.414,1.442,1.466,1.494), (1.414,1.442,1.466,1.494), (2.07,1.448,2.122,1.668), (2.07,1.448,2.312,1.5), (2.26,1.448,2.312,1.5), (2.26,1.448,2.312,1.5), (2.26,1.448,2.312,1.5), (2.26,1.448,2.312,1.5), (2.26,1.448,2.312,1.5), (2.37,1.45,2.422,1.67), (1.878,1.476,1.986,1.64), (0.994,1.552,1.046,1.604), (0.994,1.552,1.046,1.604), (0.994,1.552,1.046,1.604), (0.994,1.552,1.046,1.604), (0.994,1.552,1.046,1.604), (0.994,1.552,1.046,1.604), (0.994,1.552,1.102,1.604), (0.994,1.552,1.046,2.52), (2.686,1.56,2.738,1.78), (0.33,1.58,0.382,1.632), (0.33,1.58,0.382,1.632), (0.33,1.58,0.382,1.632), (0.33,1.58,0.382,1.632), (0.33,1.58,0.382,1.632), (0.33,1.58,0.382,1.632), (0.33,1.58,0.382,2.52), (1.934,1.588,1.986,1.64), (1.934,1.588,1.986,1.64), (1.934,1.588,1.986,1.64), (1.934,1.588,1.986,1.64), (1.934,1.588,1.986,1.64), (1.934,1.588,1.986,1.64), (1.934,1.588,1.986,1.64), (1.934,1.588,1.986,1.64), (1.934,1.588,1.986,1.89), (2.37,1.618,2.422,1.67), (2.37,1.618,2.422,1.67), (2.37,1.618,2.422,1.67), (2.37,1.618,2.422,1.67), (2.37,1.618,2.422,1.67), (2.37,1.618,2.422,1.67), (2.37,1.618,2.422,2.52), (1.402,1.622,1.454,1.842), (1.674,1.65,1.786,1.814), (2.686,1.728,2.738,1.78), (2.686,1.728,2.738,1.78), (2.686,1.728,2.738,1.78), (2.686,1.728,2.738,1.78), (2.686,1.728,2.738,1.78), (2.686,1.728,2.738,1.78), (2.686,1.728,2.738,1.78), (2.686,1.728,2.738,1.78), (2.686,1.728,2.738,1.78), (2.686,1.728,2.738,1.78), (2.686,1.728,2.738,2.52), (1.734,1.73,1.876,1.782), (1.824,1.73,1.876,1.838), (1.734,1.734,1.786,1.786), (1.402,1.79,1.454,1.842), (1.402,1.79,1.454,1.842), (1.402,1.79,1.454,1.842), (1.402,1.79,1.454,1.842), (1.402,1.79,1.454,1.842), (1.402,1.79,1.454,1.842), (1.402,1.79,1.454,2.52), (1.934,1.838,1.986,1.89), (1.934,1.838,1.986,1.89), (1.934,1.838,1.986,1.89), (1.934,1.838,1.986,1.89), (1.934,1.838,1.986,1.89), (1.934,1.838,1.986,1.89), (1.934,1.838,1.986,1.89), (1.934,1.838,1.986,2.52), (0,2.468,3.52,2.56), (0.33,2.468,0.382,2.52), (0.33,2.468,0.382,2.52), (0.994,2.468,1.046,2.52), (0.994,2.468,1.046,2.52), (1.402,2.468,1.454,2.52), (1.402,2.468,1.454,2.52), (2.37,2.468,2.422,2.52), (2.37,2.468,2.422,2.52), (2.686,2.468,2.738,2.52), (2.686,2.468,2.738,2.52)])
R(complex1, boundary, [(0,0,3.52,2.56)])
complex1.add(gdstk.Label('CL0#Y', (1.92,0.96), layer=11, texttype=0))
complex1.add(gdstk.Label('CL1#A', (2.72,1.28), layer=11, texttype=0))
complex1.add(gdstk.Label('CL1#B', (3.04,1.28), layer=11, texttype=0))
complex1.add(gdstk.Label('CL1#C', (3.36,1.28), layer=11, texttype=0))
complex1.add(gdstk.Label('CL1#Y', (2.4,1.12), layer=11, texttype=0))
complex1.add(gdstk.Label('CL2#A', (0.32,1.28), layer=11, texttype=0))
complex1.add(gdstk.Label('CL2#B', (1.12,1.12), layer=11, texttype=0))
complex1.add(gdstk.Label('CL2#Y', (1.44,1.44), layer=11, texttype=0))
complex1.add(gdstk.Label('CL3#A', (1.44,1.12), layer=11, texttype=0))
complex1.add(gdstk.Label('CL3#B', (1.6,1.12), layer=11, texttype=0))
complex1.add(gdstk.Label('CL3#C', (1.76,1.12), layer=11, texttype=0))
complex1.add(gdstk.Label('CL3#Y', (1.76,1.76), layer=11, texttype=0))

lib.write_gds('COMPLEX1.gds')
